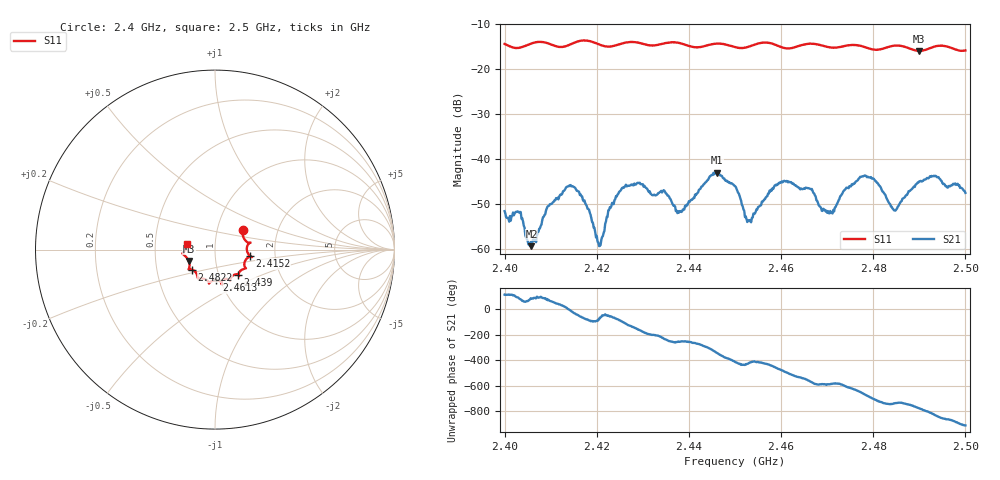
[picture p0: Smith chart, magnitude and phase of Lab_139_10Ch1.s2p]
# Hz S RI R 50
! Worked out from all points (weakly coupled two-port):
!   601 points, 2.4 GHz to 2.5 GHz, reference 50 ohm
!   highest |S21| = -43.01 dB at 2.446 GHz (marker M1); lowest = -59.3 dB at 2.4058 GHz (marker M2)
!   lowest |S11| = -15.9 dB at 2.49 GHz (marker M3), VSWR 1.38, Z = 36.9 - j4.84 ohm
!   |S11| at or under -10 dB: start of sweep to end of sweep
!   S12 and S22 are empty: the file has one direction only
!   S11 on the Smith chart (normalised r, x): 2.4 GHz: 1.33, +0.31; 2.4152 GHz: 1.48, -0.11; 2.439 GHz: 1.24, -0.36; 2.4613 GHz: 0.96, -0.34; 2.4822 GHz: 0.76, -0.17; 2.5 GHz: 0.72, +0.05
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2.4e9  0.1558 0.1114  -0.00117 0.00237  0 0  0 0
2.403e9  0.1617 0.0617  -8.12e-05 0.00258  0 0  0 0
2.405833e9  0.1905 0.0373  8.02e-05 0.00107  0 0  0 0
2.4095e9  0.1908 0.0357  0.000685 0.00293  0 0  0 0
2.415167e9  0.1948 -0.036  0.00422 -0.00244  0 0  0 0
2.416667e9  0.2043 -0.0419  0.00201 -0.00331  0 0  0 0
2.420667e9  0.1823 -0.0454  0.000481 -0.000972  0 0  0 0
2.425833e9  0.1686 -0.1008  -0.00095 -0.00469  0 0  0 0
2.433333e9  0.1327 -0.1328  -0.00376 0.00186  0 0  0 0
2.439e9  0.128 -0.1392  -0.000868 0.00262  0 0  0 0
2.446e9  0.0845 -0.1738  0.00661 0.00253  0 0  0 0
2.45e9  0.0683 -0.1632  0.00311 -0.00395  0 0  0 0
2.453e9  0.0385 -0.1744  0.00102 -0.00184  0 0  0 0
2.461333e9  0.00772 -0.1707  -0.0042 -0.00386  0 0  0 0
2.466667e9  -0.0331 -0.1899  -0.00402 0.00237  0 0  0 0
2.470667e9  -0.0495 -0.168  -0.00182 0.00193  0 0  0 0
2.477667e9  -0.0967 -0.1521  0.00297 0.00573  0 0  0 0
2.482167e9  -0.1283 -0.1118  0.0042 -0.00107  0 0  0 0
2.483333e9  -0.1394 -0.1102  0.0031 -0.00119  0 0  0 0
2.485e9  -0.1471 -0.1104  0.00267 -0.000711  0 0  0 0
2.49e9  -0.1469 -0.0638  0.00303 -0.00479  0 0  0 0
2.5e9  -0.1587 0.0337  -0.00415 0.000766  0 0  0 0
